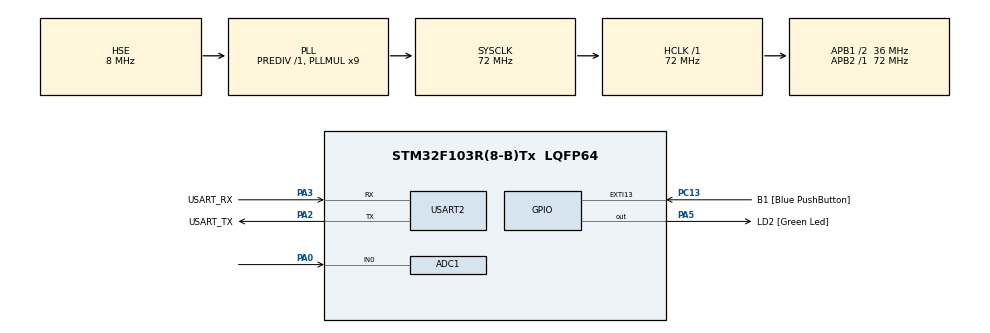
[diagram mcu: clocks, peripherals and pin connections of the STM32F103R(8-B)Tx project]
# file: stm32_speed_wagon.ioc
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ADC1.Channel-1\#ChannelRegularConversion=ADC_CHANNEL_0
ADC1.ContinuousConvMode=DISABLE
ADC1.EnableRegularConversion=ENABLE
ADC1.ExternalTrigConv=ADC_EXTERNALTRIGCONV_T3_TRGO
ADC1.NbrOfConversionFlag=1
ADC1.Rank-1\#ChannelRegularConversion=1
ADC1.SamplingTime-1\#ChannelRegularConversion=ADC_SAMPLETIME_1CYCLE_5
ADC1.master=1
Dma.ADC1.0.Direction=DMA_PERIPH_TO_MEMORY
Dma.ADC1.0.Instance=DMA1_Channel1
Dma.ADC1.0.MemDataAlignment=DMA_MDATAALIGN_HALFWORD
Dma.ADC1.0.MemInc=DMA_MINC_ENABLE
Dma.ADC1.0.Mode=DMA_CIRCULAR
Dma.ADC1.0.PeriphDataAlignment=DMA_PDATAALIGN_HALFWORD
Dma.ADC1.0.PeriphInc=DMA_PINC_DISABLE
Dma.ADC1.0.Priority=DMA_PRIORITY_LOW
Dma.Request0=ADC1
FREERTOS.Tasks01=defaultTask,0,128,StartDefaultTask,Default,NULL,Dynamic,NULL,NULL
FREERTOS.configUSE_NEWLIB_REENTRANT=1
Mcu.Family=STM32F1
Mcu.Name=STM32F103R(8-B)Tx
Mcu.Package=LQFP64
NVIC.ADC1_2_IRQn=true\:5\:0\:false\:false\:true\:true\:true\:true\:true
NVIC.DMA1_Channel1_IRQn=true\:5\:0\:false\:false\:true\:true\:false\:true\:true
NVIC.EXTI15_10_IRQn=true\:5\:0\:false\:false\:true\:true\:true\:true\:true
NVIC.PriorityGroup=NVIC_PRIORITYGROUP_4
NVIC.TIM1_UP_IRQn=true\:15\:0\:false\:false\:true\:false\:false\:true\:true
NVIC.TimeBase=TIM1_UP_IRQn
NVIC.TimeBaseIP=TIM1
PA0-WKUP.Signal=ADCx_IN0
PA13.GPIO_Label=TMS
PA13.Mode=Trace_Asynchronous_SW
PA13.Signal=SYS_JTMS-SWDIO
PA14.GPIO_Label=TCK
PA14.Mode=Trace_Asynchronous_SW
PA14.Signal=SYS_JTCK-SWCLK
PA2.GPIO_Label=USART_TX
PA2.GPIO_Mode=GPIO_MODE_AF_PP
PA2.GPIO_PuPd=GPIO_NOPULL
PA2.GPIO_Speed=GPIO_SPEED_FREQ_LOW
PA2.Mode=Asynchronous
PA2.Signal=USART2_TX
PA3.GPIO_Label=USART_RX
PA3.GPIO_Mode=GPIO_MODE_AF_PP
PA3.GPIO_PuPd=GPIO_NOPULL
PA3.GPIO_Speed=GPIO_SPEED_FREQ_LOW
PA3.Mode=Asynchronous
PA3.Signal=USART2_RX
PA5.GPIO_Label=LD2 [Green Led]
PA5.GPIO_ModeDefaultOutputPP=GPIO_MODE_OUTPUT_PP
PA5.GPIO_PuPd=GPIO_NOPULL
PA5.GPIO_Speed=GPIO_SPEED_FREQ_LOW
PA5.Signal=GPIO_Output
PB3.Mode=Trace_Asynchronous_SW
PB3.Signal=SYS_JTDO-TRACESWO
PC13-TAMPER-RTC.GPIO_Label=B1 [Blue PushButton]
PC13-TAMPER-RTC.GPIO_PuPd=GPIO_NOPULL
PC13-TAMPER-RTC.Signal=GPXTI13
PC14-OSC32_IN.Mode=LSE-External-Oscillator
PC14-OSC32_IN.Signal=RCC_OSC32_IN
PC15-OSC32_OUT.Mode=LSE-External-Oscillator
PC15-OSC32_OUT.Signal=RCC_OSC32_OUT
PD0-OSC_IN.Mode=HSE-External-Clock-Source
PD0-OSC_IN.Signal=RCC_OSC_IN
PD1-OSC_OUT.Mode=HSE-External-Clock-Source
PD1-OSC_OUT.Signal=RCC_OSC_OUT
ProjectManager.HeapSize=0x200
ProjectManager.StackSize=0x400
ProjectManager.TargetToolchain=STM32CubeIDE
RCC.ADCPresc=RCC_ADCPCLK2_DIV6
RCC.AHBFreq_Value=72000000
RCC.APB1CLKDivider=RCC_HCLK_DIV2
RCC.APB1Freq_Value=36000000
RCC.APB1TimFreq_Value=72000000
RCC.APB2Freq_Value=72000000
RCC.APB2TimFreq_Value=72000000
RCC.HCLKFreq_Value=72000000
RCC.PLLMUL=RCC_PLL_MUL9
RCC.PLLSourceVirtual=RCC_PLLSOURCE_HSE
RCC.RTCClockSelection=RCC_RTCCLKSOURCE_LSE
RCC.SYSCLKFreq_VALUE=72000000
RCC.SYSCLKSource=RCC_SYSCLKSOURCE_PLLCLK
RCC.USBFreq_Value=72000000
SH.ADCx_IN0.0=ADC1_IN0,IN0
STMicroelectronics.X-CUBE-ALGOBUILD.1.4.0.LibraryCcDSPOoLibraryJjDSPOoLibrary=true
TIM3.Period=100-1
TIM3.Prescaler=72-1
TIM3.TIM_MasterOutputTrigger=TIM_TRGO_UPDATE
TIM3.TIM_MasterSlaveMode=TIM_MASTERSLAVEMODE_DISABLE
USART2.VirtualMode=VM_ASYNC
VP_FREERTOS_VS_CMSIS_V1.Mode=CMSIS_V1
VP_STMicroelectronics.X-CUBE-ALGOBUILD_VS_DSPOoLibraryJjLibrary_1.4.0_1.4.0.Mode=DSPOoLibraryJjLibrary
VP_SYS_VS_tim1.Mode=TIM1
VP_TIM3_VS_ClockSourceINT.Mode=Internal
board=NUCLEO-F103RB

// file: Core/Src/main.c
/* USER CODE BEGIN Header */
/**
  ******************************************************************************
  * @file           : main.c
  * @brief          : Main program body
  ******************************************************************************
  * @attention
  *
  * Copyright (c) 2025 STMicroelectronics.
  * All rights reserved.
  *
  * This software is licensed under terms that can be found in the LICENSE file
  * in the root directory of this software component.
  * If no LICENSE file comes with this software, it is provided AS-IS.
  *
  ******************************************************************************
  */
/* USER CODE END Header */
#include "main.h"
#include "cmsis_os.h"

/* USER CODE BEGIN Includes */
#include <stdio.h>
#include "arm_math.h"  // DSP 라이브러리 (FFT용)

/* USER CODE END Includes */

ADC_HandleTypeDef hadc1;
DMA_HandleTypeDef hdma_adc1;
TIM_HandleTypeDef htim3;

osSemaphoreId myBinarySemHandle; // 세마포어 핸들
UART_HandleTypeDef huart2;

osThreadId defaultTaskHandle;
/* USER CODE BEGIN PV */

/* Defines */
#define FFT_LEN 1024       // 512, 1024, 2048 중 선택 (1024 권장)
#define SAMPLE_RATE 10000  // 10kHz (타이머 설정에 맞춤)

// 1. ADC 버퍼 (DMA가 데이터를 채워넣는 곳)
// uint16_t 타입이어야 합니다 (ADC가 12비트 정수이므로)
uint16_t adc_buffer[FFT_LEN * 2];

// 2. Q15 FFT용 버퍼들
// 입력/출력 버퍼는 FFT 길이의 2배가 필요합니다 (실수부 + 허수부)
q15_t fft_input_q15[FFT_LEN * 2];
q15_t fft_output_q15[FFT_LEN * 2];
q15_t fft_mag_q15[FFT_LEN];      // 최종 크기(Magnitude) 결과
volatile uint32_t process_offset = 0; // 태스크가 읽어야 할 위치 (0 또는 1024)

// [SWV 관찰용 전역 변수]
volatile uint32_t debug_speed = 0;   // 계산된 속도
volatile uint32_t debug_freq = 0;    // 계산된 주파수
volatile int32_t debug_maxVal = 0;   // 신호 세기 (Magnitude)
volatile uint32_t debug_isr_cnt = 0; // 인터럽트 횟수 카운터
char debug_buffer[100]; // 디버그 출력

// FFT 구조체 인스턴스
arm_rfft_instance_q15 S;

/* USER CODE END PV */

void SystemClock_Config(void);
static void MX_GPIO_Init(void);
static void MX_DMA_Init(void);
static void MX_USART2_UART_Init(void);
static void MX_ADC1_Init(void);
static void MX_TIM3_Init(void);
void StartDefaultTask(void const * argument);

/* USER CODE BEGIN 0 */
int val;
int cnt;
volatile uint32_t radar_adc_val = 0;
int __io_putchar(int ch)
{
 // Write character to ITM ch.0
 ITM_SendChar(ch);
 return(ch);
}
/* USER CODE END 0 */

int main(void)
{

  /* MCU Configuration--------------------------------------------------------*/

  /* Reset of all peripherals, Initializes the Flash interface and the Systick. */
  HAL_Init();

  /* Configure the system clock */
  SystemClock_Config();

  /* Initialize all configured peripherals */
  MX_GPIO_Init();
  MX_DMA_Init();
  MX_USART2_UART_Init();
  MX_ADC1_Init();
  MX_TIM3_Init();
  /* USER CODE BEGIN 2 */
//  // 1. FFT 초기화
//    // 초기화를 안 하면 S 구조체가 비어있어서 FFT 함수가 멈춥니다.
//    if (arm_rfft_init_q15(&S, FFT_LEN, 0, 1) != ARM_MATH_SUCCESS) {
//        printf("FFT Init Failed!\r\n");
//        Error_Handler();
//    }
//	// 2. 타이머 시작
//	HAL_TIM_Base_Start(&htim3);
//
//	// 3. ADC DMA 시작 (이제부터 자동으로 adc_buffer에 값이 채워짐)
//	  if (HAL_ADC_Start_DMA(&hadc1, (uint32_t*)adc_buffer, FFT_LEN) != HAL_OK) {
//	      printf("ADC DMA Start Failed!\r\n");
//	      Error_Handler();
//	  }
  /* USER CODE END 2 */

  /* USER CODE BEGIN RTOS_SEMAPHORES */

  // 세마포어 정의 (이름은 myBinarySem)
  osSemaphoreDef(myBinarySem);
  // 세마포어 생성 (1은 토큰 개수. 1개면 바이너리 세마포어가 됨)
  myBinarySemHandle = osSemaphoreCreate(osSemaphore(myBinarySem), 1);

  /* USER CODE END RTOS_SEMAPHORES */

  /* Create the thread(s) */
  /* definition and creation of defaultTask */
  osThreadDef(defaultTask, StartDefaultTask, osPriorityNormal, 0, 128);
  defaultTaskHandle = osThreadCreate(osThread(defaultTask), NULL);

  /* Start scheduler */
  osKernelStart();

  /* We should never get here as control is now taken by the scheduler */

  /* Infinite loop */
  while (1)
  {

  }
}

void SystemClock_Config(void)
{
  RCC_OscInitTypeDef RCC_OscInitStruct = {0};
  RCC_ClkInitTypeDef RCC_ClkInitStruct = {0};
  RCC_PeriphCLKInitTypeDef PeriphClkInit = {0};

  /** Initializes the RCC Oscillators according to the specified parameters
  * in the RCC_OscInitTypeDef structure.
  */
  RCC_OscInitStruct.OscillatorType = RCC_OSCILLATORTYPE_HSE;
  RCC_OscInitStruct.HSEState = RCC_HSE_BYPASS;
  RCC_OscInitStruct.HSEPredivValue = RCC_HSE_PREDIV_DIV1;
  RCC_OscInitStruct.HSIState = RCC_HSI_ON;
  RCC_OscInitStruct.PLL.PLLState = RCC_PLL_ON;
  RCC_OscInitStruct.PLL.PLLSource = RCC_PLLSOURCE_HSE;
  RCC_OscInitStruct.PLL.PLLMUL = RCC_PLL_MUL9;
  if (HAL_RCC_OscConfig(&RCC_OscInitStruct) != HAL_OK)
  {
    Error_Handler();
  }

  /** Initializes the CPU, AHB and APB buses clocks
  */
  RCC_ClkInitStruct.ClockType = RCC_CLOCKTYPE_HCLK|RCC_CLOCKTYPE_SYSCLK
                              |RCC_CLOCKTYPE_PCLK1|RCC_CLOCKTYPE_PCLK2;
  RCC_ClkInitStruct.SYSCLKSource = RCC_SYSCLKSOURCE_PLLCLK;
  RCC_ClkInitStruct.AHBCLKDivider = RCC_SYSCLK_DIV1;
  RCC_ClkInitStruct.APB1CLKDivider = RCC_HCLK_DIV2;
  RCC_ClkInitStruct.APB2CLKDivider = RCC_HCLK_DIV1;

  if (HAL_RCC_ClockConfig(&RCC_ClkInitStruct, FLASH_LATENCY_2) != HAL_OK)
  {
    Error_Handler();
  }
  PeriphClkInit.PeriphClockSelection = RCC_PERIPHCLK_ADC;
  PeriphClkInit.AdcClockSelection = RCC_ADCPCLK2_DIV6;
  if (HAL_RCCEx_PeriphCLKConfig(&PeriphClkInit) != HAL_OK)
  {
    Error_Handler();
  }
}

static void MX_ADC1_Init(void)
{

  ADC_ChannelConfTypeDef sConfig = {0};

  /** Common config
  */
  hadc1.Instance = ADC1;
  hadc1.Init.ScanConvMode = ADC_SCAN_DISABLE;
  hadc1.Init.ContinuousConvMode = DISABLE;
  hadc1.Init.DiscontinuousConvMode = DISABLE;
  hadc1.Init.ExternalTrigConv = ADC_EXTERNALTRIGCONV_T3_TRGO;
  hadc1.Init.DataAlign = ADC_DATAALIGN_RIGHT;
  hadc1.Init.NbrOfConversion = 1;
  if (HAL_ADC_Init(&hadc1) != HAL_OK)
  {
    Error_Handler();
  }

  /** Configure Regular Channel
  */
  sConfig.Channel = ADC_CHANNEL_0;
  sConfig.Rank = ADC_REGULAR_RANK_1;
  sConfig.SamplingTime = ADC_SAMPLETIME_1CYCLE_5;
  if (HAL_ADC_ConfigChannel(&hadc1, &sConfig) != HAL_OK)
  {
    Error_Handler();
  }

}

static void MX_TIM3_Init(void)
{

  TIM_ClockConfigTypeDef sClockSourceConfig = {0};
  TIM_MasterConfigTypeDef sMasterConfig = {0};

  htim3.Instance = TIM3;
  htim3.Init.Prescaler = 72-1;
  htim3.Init.CounterMode = TIM_COUNTERMODE_UP;
  htim3.Init.Period = 100-1;
  htim3.Init.ClockDivision = TIM_CLOCKDIVISION_DIV1;
  htim3.Init.AutoReloadPreload = TIM_AUTORELOAD_PRELOAD_DISABLE;
  if (HAL_TIM_Base_Init(&htim3) != HAL_OK)
  {
    Error_Handler();
  }
  sClockSourceConfig.ClockSource = TIM_CLOCKSOURCE_INTERNAL;
  if (HAL_TIM_ConfigClockSource(&htim3, &sClockSourceConfig) != HAL_OK)
  {
    Error_Handler();
  }
  sMasterConfig.MasterOutputTrigger = TIM_TRGO_UPDATE;
  sMasterConfig.MasterSlaveMode = TIM_MASTERSLAVEMODE_DISABLE;
  if (HAL_TIMEx_MasterConfigSynchronization(&htim3, &sMasterConfig) != HAL_OK)
  {
    Error_Handler();
  }

}

static void MX_USART2_UART_Init(void)
{

  huart2.Instance = USART2;
  huart2.Init.BaudRate = 115200;
  huart2.Init.WordLength = UART_WORDLENGTH_8B;
  huart2.Init.StopBits = UART_STOPBITS_1;
  huart2.Init.Parity = UART_PARITY_NONE;
  huart2.Init.Mode = UART_MODE_TX_RX;
  huart2.Init.HwFlowCtl = UART_HWCONTROL_NONE;
  huart2.Init.OverSampling = UART_OVERSAMPLING_16;
  if (HAL_UART_Init(&huart2) != HAL_OK)
  {
    Error_Handler();
  }

}

static void MX_DMA_Init(void)
{

  /* DMA controller clock enable */
  __HAL_RCC_DMA1_CLK_ENABLE();

  /* DMA interrupt init */
  /* DMA1_Channel1_IRQn interrupt configuration */
  HAL_NVIC_SetPriority(DMA1_Channel1_IRQn, 5, 0);
  HAL_NVIC_EnableIRQ(DMA1_Channel1_IRQn);

}

static void MX_GPIO_Init(void)
{
  GPIO_InitTypeDef GPIO_InitStruct = {0};

  /* GPIO Ports Clock Enable */
  __HAL_RCC_GPIOC_CLK_ENABLE();
  __HAL_RCC_GPIOD_CLK_ENABLE();
  __HAL_RCC_GPIOA_CLK_ENABLE();
  __HAL_RCC_GPIOB_CLK_ENABLE();

  /*Configure GPIO pin Output Level */
  HAL_GPIO_WritePin(LD2_GPIO_Port, LD2_Pin, GPIO_PIN_RESET);

  /*Configure GPIO pin : B1_Pin */
  GPIO_InitStruct.Pin = B1_Pin;
  GPIO_InitStruct.Mode = GPIO_MODE_IT_RISING;
  GPIO_InitStruct.Pull = GPIO_NOPULL;
  HAL_GPIO_Init(B1_GPIO_Port, &GPIO_InitStruct);

  /*Configure GPIO pin : LD2_Pin */
  GPIO_InitStruct.Pin = LD2_Pin;
  GPIO_InitStruct.Mode = GPIO_MODE_OUTPUT_PP;
  GPIO_InitStruct.Pull = GPIO_NOPULL;
  GPIO_InitStruct.Speed = GPIO_SPEED_FREQ_LOW;
  HAL_GPIO_Init(LD2_GPIO_Port, &GPIO_InitStruct);

  /* EXTI interrupt init*/
  HAL_NVIC_SetPriority(EXTI15_10_IRQn, 5, 0);
  HAL_NVIC_EnableIRQ(EXTI15_10_IRQn);

}

/* USER CODE BEGIN 4 */
/* 1. 절반 완료 (Half Complete) -> 앞부분 데이터 처리 요청 */
void HAL_ADC_ConvHalfCpltCallback(ADC_HandleTypeDef* hadc)
{
    if (hadc->Instance == ADC1)
    {
        process_offset = 0; // "앞부분(0번지)부터 읽어라"
        osSemaphoreRelease(myBinarySemHandle); // 태스크 깨우기 🚩
    }
}

/* 2. 전체 완료 (Full Complete) -> 뒷부분 데이터 처리 요청 */
void HAL_ADC_ConvCpltCallback(ADC_HandleTypeDef* hadc)
{
    if (hadc->Instance == ADC1)
    {
        debug_isr_cnt++;

        process_offset = FFT_LEN; // "뒷부분(1024번지)부터 읽어라"
        osSemaphoreRelease(myBinarySemHandle); // 태스크 깨우기 🚩

    }
}
/* USER CODE END 4 */

void StartDefaultTask(void const * argument)
{
  /* USER CODE BEGIN 5 */
  arm_rfft_init_q15(&S, FFT_LEN, 0, 1);

  // 버퍼 크기 2배로 설정 (Ping-Pong)
  HAL_TIM_Base_Start(&htim3);
  HAL_ADC_Start_DMA(&hadc1, (uint32_t*)adc_buffer, FFT_LEN * 2);

  /* Infinite loop */
  for(;;)
  {
	  // [B] 신호 대기 (인터럽트가 깨울 때까지 잠듦) 💤
	  if (osSemaphoreWait(myBinarySemHandle, osWaitForever) == osOK)
	  {
		  // [C] 데이터 복사 (Ping-Pong 로직) 🏓
		  // process_offset 변수가 가리키는 곳(0 또는 1024)에서 데이터를 가져옵니다.

		  // DC 제거 및 Q15 변환
		  uint32_t sum = 0;
		  // 평균 구하기 (DC 오프셋)
		  for (int i = 0; i < FFT_LEN; i++) {
			  sum += adc_buffer[process_offset + i];
		  }
		  int16_t dc_offset = sum / FFT_LEN;

		  // FFT 입력 버퍼로 복사
		  for (int i = 0; i < FFT_LEN; i++) {
			  int16_t val = (int16_t)adc_buffer[process_offset + i] - dc_offset;
			  fft_input_q15[i] = (q15_t)(val << 3); // 값 증폭 (필요시 조정)
		  }

		  // [A] FFT 계산 및 속도 출력
		  arm_rfft_q15(&S, fft_input_q15, fft_output_q15);
		  arm_cmplx_mag_q15(fft_output_q15, fft_mag_q15, FFT_LEN);

		  // Peak 찾기 및 출력 로직
		  q15_t maxVal;
		  uint32_t maxIndex;
		  int start_index = 5; // 저주파 노이즈 제거
		  arm_max_q15(&fft_mag_q15[start_index], (FFT_LEN / 2) - start_index, &maxVal, &maxIndex);
		  maxIndex += start_index;

		  debug_maxVal = maxVal;
		  if (maxVal > 200) // 노이즈 임계값
		  {
			  uint32_t freq_hz = (maxIndex * SAMPLE_RATE) / FFT_LEN;
			  // 속도 = 주파수 / 44 (24.125GHz 기준)
			  uint32_t speed_x10 = (freq_hz * 10) / 44;

			  printf("Freq: %lu Hz, Speed: %lu.%lu km/h\r\n", freq_hz, speed_x10/10, speed_x10%10);
			  sprintf(debug_buffer, "Freq: %lu Hz, Speed: %lu.%lu km/h", freq_hz, speed_x10/10, speed_x10%10);
			  debug_speed = speed_x10/10;
		  }
	  }
	  HAL_GPIO_TogglePin(LD2_GPIO_Port, LD2_Pin);
  }
  /* USER CODE END 5 */
}

void HAL_TIM_PeriodElapsedCallback(TIM_HandleTypeDef *htim)
{
  if (htim->Instance == TIM1)
  {
    HAL_IncTick();
  }
}

void Error_Handler(void)
{
  __disable_irq();
  while (1)
  {
  }
}
